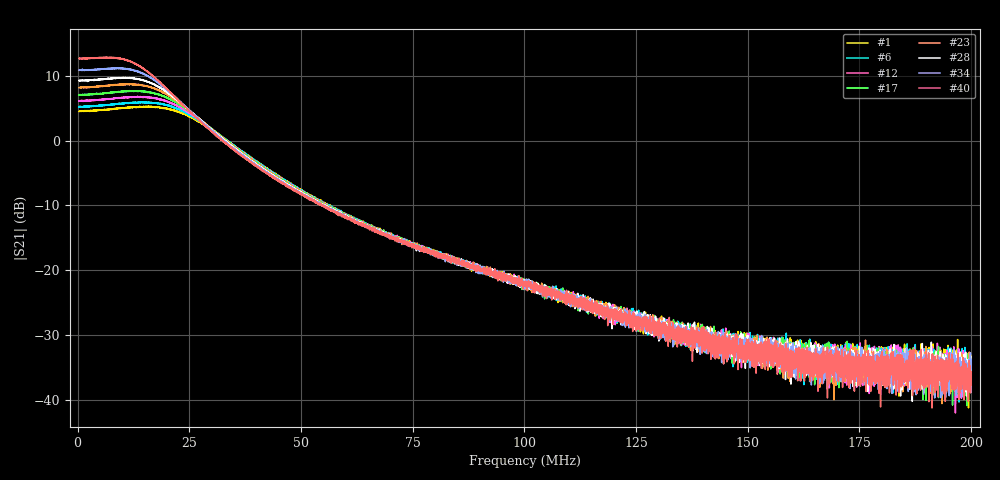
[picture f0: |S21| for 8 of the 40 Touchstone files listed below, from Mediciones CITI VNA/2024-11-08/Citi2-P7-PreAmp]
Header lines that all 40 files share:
# Hz S DB R 50
! CMT, M5065, 19127446, 24.2.4/2
! Data: Format (Calibration Info)
! Freq	S11:dB/Ang(F2)	S21:dB/Ang(F2)	S12:dB/Ang(F2)	S22:dB/Ang(F2)
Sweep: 300 kHz to 200 MHz
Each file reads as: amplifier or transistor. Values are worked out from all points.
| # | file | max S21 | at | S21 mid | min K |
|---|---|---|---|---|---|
| 1 | ganancia_0.s2p | 5.3 dB | 16.43 MHz | -22.5 dB at 100.2 MHz | 5.02 |
| 2 | ganancia_1.s2p | 5.4 dB | 15.01 MHz | -21.9 dB at 100.2 MHz | 8.51 |
| 3 | ganancia_2.s2p | 5.5 dB | 14.7 MHz | -21.8 dB at 100.2 MHz | 8.03 |
| 4 | ganancia_3.s2p | 5.6 dB | 14.81 MHz | -21.9 dB at 100.2 MHz | 4.43 |
| 5 | ganancia_4.s2p | 5.8 dB | 15.39 MHz | -22.7 dB at 100.2 MHz | 6.74 |
| 6 | ganancia_5.s2p | 5.9 dB | 13.79 MHz | -22.6 dB at 100.2 MHz | 7.49 |
| 7 | ganancia_6.s2p | 6.1 dB | 14.79 MHz | -21.7 dB at 100.2 MHz | 5.48 |
| 8 | ganancia_7.s2p | 6.2 dB | 14.21 MHz | -22.6 dB at 100.2 MHz | 8.34 |
| 9 | ganancia_8.s2p | 6.4 dB | 14.21 MHz | -22.1 dB at 100.2 MHz | 8.09 |
| 10 | ganancia_9.s2p | 6.5 dB | 13.9 MHz | -22.1 dB at 100.2 MHz | 7.27 |
| 11 | ganancia_10.s2p | 6.7 dB | 13.08 MHz | -22.2 dB at 100.2 MHz | 5.98 |
| 12 | ganancia_11.s2p | 6.8 dB | 13.42 MHz | -21.8 dB at 100.2 MHz | 5.57 |
| 13 | ganancia_12.s2p | 7.0 dB | 14.57 MHz | -21.7 dB at 100.2 MHz | 7.57 |
| 14 | ganancia_13.s2p | 7.2 dB | 13.61 MHz | -22.5 dB at 100.2 MHz | 7.09 |
| 15 | ganancia_14.s2p | 7.3 dB | 13.19 MHz | -21.8 dB at 100.2 MHz | 3.98 |
| 16 | ganancia_15.s2p | 7.4 dB | 12.68 MHz | -21.7 dB at 100.2 MHz | 4.81 |
| 17 | ganancia_16.s2p | 7.7 dB | 11.66 MHz | -22.4 dB at 100.2 MHz | 5.52 |
| 18 | ganancia_17.s2p | 7.8 dB | 12.51 MHz | -22.7 dB at 100.2 MHz | 5.17 |
| 19 | ganancia_18.s2p | 8.0 dB | 11.8 MHz | -21.9 dB at 100.2 MHz | 4.32 |
| 20 | ganancia_19.s2p | 8.1 dB | 9.931 MHz | -21.8 dB at 100.2 MHz | 4.50 |
| 21 | ganancia_20.s2p | 8.4 dB | 11.11 MHz | -22.4 dB at 100.2 MHz | 4.57 |
| 22 | ganancia_21.s2p | 8.5 dB | 10.95 MHz | -21.7 dB at 100.2 MHz | 4.04 |
| 23 | ganancia_22.s2p | 8.7 dB | 11.33 MHz | -22.4 dB at 100.2 MHz | 4.80 |
| 24 | ganancia_23.s2p | 8.9 dB | 11.48 MHz | -22.5 dB at 100.2 MHz | 5.36 |
| 25 | ganancia_24.s2p | 9.2 dB | 10.04 MHz | -22.4 dB at 100.2 MHz | 4.83 |
| 26 | ganancia_25.s2p | 9.3 dB | 10.24 MHz | -21.8 dB at 100.2 MHz | 5.64 |
| 27 | ganancia_26.s2p | 9.5 dB | 10.02 MHz | -22.0 dB at 100.2 MHz | 3.82 |
| 28 | ganancia_27.s2p | 9.7 dB | 10.69 MHz | -22.5 dB at 100.2 MHz | 4.75 |
| 29 | ganancia_28.s2p | 10.0 dB | 10.44 MHz | -22.1 dB at 100.2 MHz | 3.42 |
| 30 | ganancia_29.s2p | 10.2 dB | 9.82 MHz | -21.8 dB at 100.2 MHz | 3.59 |
| 31 | ganancia_30.s2p | 10.4 dB | 10.06 MHz | -22.1 dB at 100.2 MHz | 4.05 |
| 32 | ganancia_31.s2p | 10.6 dB | 9.265 MHz | -22.3 dB at 100.2 MHz | 2.62 |
| 33 | ganancia_32.s2p | 11.0 dB | 10.06 MHz | -21.8 dB at 100.2 MHz | 3.69 |
| 34 | ganancia_33.s2p | 11.2 dB | 8.666 MHz | -22.1 dB at 100.2 MHz | 1.66 |
| 35 | ganancia_34.s2p | 11.4 dB | 7.335 MHz | -22.0 dB at 100.2 MHz | 2.01 |
| 36 | ganancia_35.s2p | 11.6 dB | 7.734 MHz | -22.0 dB at 100.2 MHz | 3.57 |
| 37 | ganancia_36.s2p | 12.0 dB | 6.913 MHz | -22.0 dB at 100.2 MHz | 3.06 |
| 38 | ganancia_37.s2p | 12.3 dB | 8 MHz | -21.9 dB at 100.2 MHz | 3.23 |
| 39 | ganancia_38.s2p | 12.5 dB | 7.202 MHz | -21.9 dB at 100.2 MHz | 2.58 |
| 40 | ganancia_39.s2p | 12.8 dB | 7.157 MHz | -21.8 dB at 100.2 MHz | 2.24 |
